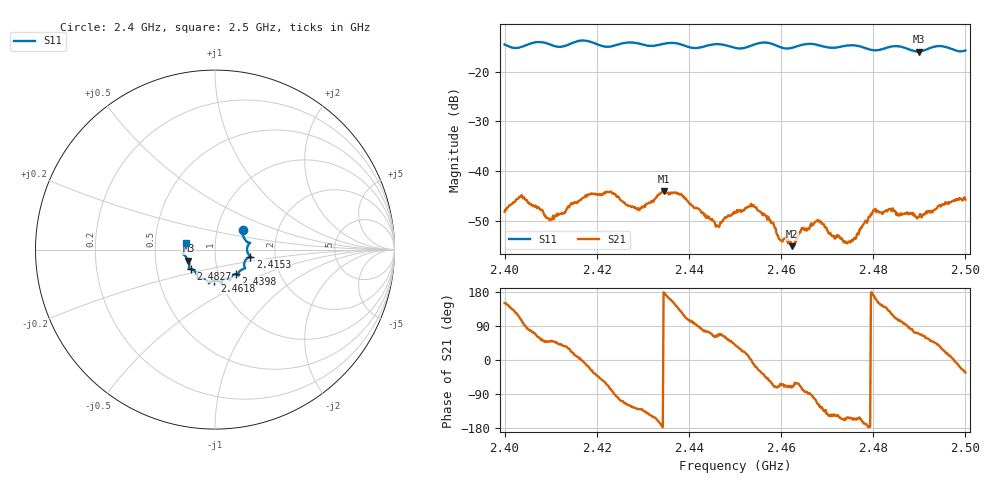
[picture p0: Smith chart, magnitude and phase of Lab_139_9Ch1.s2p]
# Hz S RI R 50
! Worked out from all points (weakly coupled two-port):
!   601 points, 2.4 GHz to 2.5 GHz, reference 50 ohm
!   highest |S21| = -44.12 dB at 2.4345 GHz (marker M1); lowest = -55.2 dB at 2.4623 GHz (marker M2)
!   lowest |S11| = -15.9 dB at 2.4898 GHz (marker M3), VSWR 1.38, Z = 36.9 - j4.62 ohm
!   |S11| at or under -10 dB: start of sweep to end of sweep
!   S12 and S22 are empty: the file has one direction only
!   S11 on the Smith chart (normalised r, x): 2.4 GHz: 1.33, +0.30; 2.4153 GHz: 1.48, -0.12; 2.4398 GHz: 1.21, -0.34; 2.4618 GHz: 0.94, -0.33; 2.4827 GHz: 0.75, -0.17; 2.5 GHz: 0.72, +0.06
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2.4e9  0.1554 0.107  -0.00338 0.00193  0 0  0 0
2.403667e9  0.1711 0.0509  -0.00154 0.00549  0 0  0 0
2.409833e9  0.1868 0.0284  0.00206 0.0024  0 0  0 0
2.415333e9  0.1966 -0.0394  0.00471 0.001  0 0  0 0
2.416667e9  0.2024 -0.0433  0.00523 -4.15e-05  0 0  0 0
2.422667e9  0.1641 -0.0721  0.00194 -0.00577  0 0  0 0
2.429e9  0.162 -0.1061  -0.00268 -0.00326  0 0  0 0
2.433333e9  0.13 -0.1339  -0.00538 -0.00186  0 0  0 0
2.4345e9  0.1291 -0.1418  -0.00622 0.000176  0 0  0 0
2.439833e9  0.1153 -0.1363  -0.00138 0.00469  0 0  0 0
2.446167e9  0.0841 -0.1708  0.0012 0.00251  0 0  0 0
2.45e9  0.0648 -0.1619  0.00291 0.00241  0 0  0 0
2.454e9  0.0354 -0.1839  0.00446 -0.000861  0 0  0 0
2.461833e9  -0.00319 -0.1726  0.000594 -0.00181  0 0  0 0
2.462333e9  -0.00998 -0.174  0.000524 -0.00166  0 0  0 0
2.466667e9  -0.0346 -0.188  -0.000157 -0.0028  0 0  0 0
2.474667e9  -0.092 -0.1603  -0.0017 -0.000906  0 0  0 0
2.48e9  -0.1101 -0.1231  -0.00396 0.00065  0 0  0 0
2.482667e9  -0.1351 -0.1088  -0.00301 0.00258  0 0  0 0
2.483333e9  -0.1402 -0.1083  -0.00263 0.00313  0 0  0 0
2.489833e9  -0.1481 -0.061  0.00118 0.00322  0 0  0 0
2.5e9  -0.1594 0.039  0.00432 -0.00279  0 0  0 0
